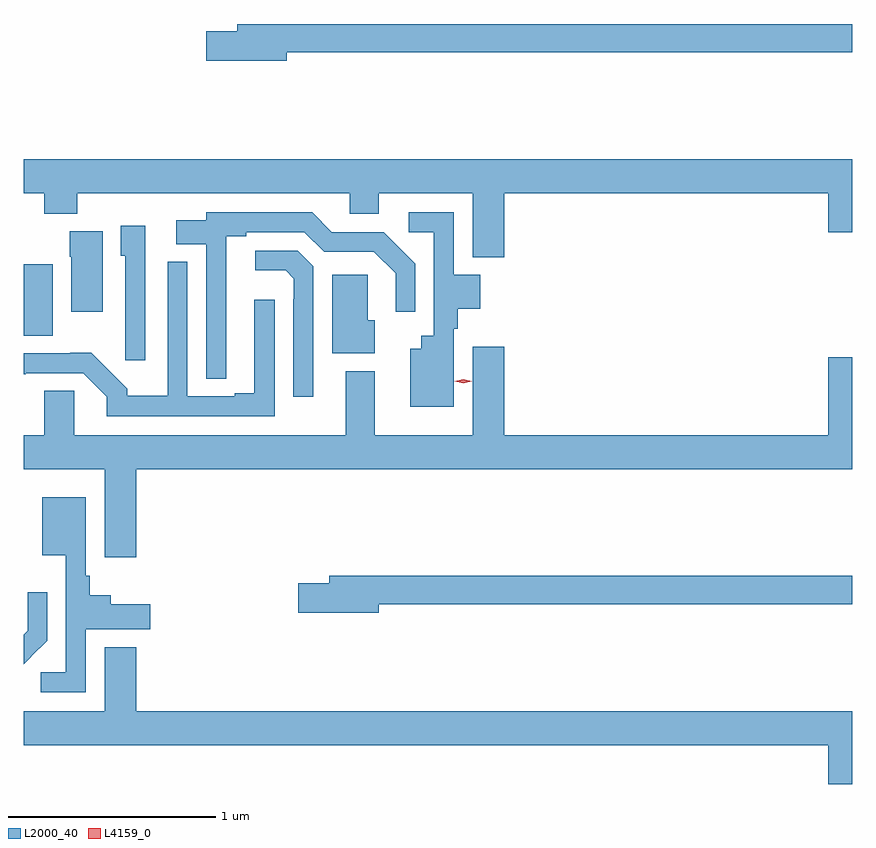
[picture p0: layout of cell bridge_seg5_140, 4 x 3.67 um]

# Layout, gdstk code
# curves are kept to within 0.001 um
import gdstk
lib = gdstk.Library(unit=1e-6, precision=1e-09)
def R(c, l, rs):  # rectangles x0, y0, x1, y1
    for r in rs: c.add(gdstk.rectangle(r[:2], r[2:], *l))
def P(c, l, *ps):  # polygons
    for p in ps: c.add(gdstk.Polygon(p, *l))
L2000_40 = (2000, 40)
L4159_0 = (4159, 0)

bridge_seg5_140 = lib.new_cell('bridge_seg5_140')
R(bridge_seg5_140, L2000_40, [(161.125,880.048,161.266,880.393)])
P(bridge_seg5_140, L2000_40, [(162.394,881.416),(165.125,881.416),(165.125,881.552),(162.155,881.552),(162.155,881.516),(162.006,881.516),(162.006,881.374),(162.394,881.374)],
  [(163.445,880.736),(165.008,880.736),(165.008,880.548),(165.125,880.548),(165.125,880.9),(161.125,880.9),(161.125,880.736),(161.224,880.736),(161.224,880.637),(161.384,880.637),(161.384,880.736),(162.698,880.736),(162.698,880.637),(162.838,880.637),(162.838,880.736),(163.292,880.736),(163.292,880.427),(163.445,880.427)],
  [(162.102,879.949),(162.103,880.528),(162.199,880.528),(162.199,880.548),(162.48,880.548),(162.576,880.452),(162.712,880.452),(162.712,880.454),(162.814,880.454),(162.92,880.349),(162.92,880.164),(163.014,880.164),(163.014,880.396),(162.864,880.548),(162.613,880.548),(162.517,880.644),(162.006,880.644),(162.006,880.606),(161.862,880.606),(161.862,880.49),(162.006,880.49),(162.006,879.841),(162.102,879.841)],
  [(163.201,880.082),(163.22,880.082),(163.22,880.178),(163.33,880.178),(163.33,880.342),(163.2,880.342),(163.2,880.644),(162.984,880.644),(162.984,880.548),(163.104,880.548),(163.104,880.048),(163.043,880.048),(163.043,879.985),(162.992,879.985),(162.992,879.704),(163.201,879.704)],
  [(161.712,880.579),(161.594,880.579),(161.594,880.434),(161.616,880.434),(161.616,879.93),(161.712,879.93)],
  [(161.506,880.552),(161.348,880.552),(161.348,880.428),(161.354,880.428),(161.354,880.164),(161.506,880.164)],
  [(162.522,880.383),(162.447,880.458),(162.243,880.458),(162.243,880.364),(162.389,880.364),(162.429,880.323),(162.429,880.223),(162.426,880.223),(162.426,879.753),(162.522,879.753)],
  [(162.336,880.222),(162.239,880.222),(162.239,879.771),(162.143,879.771),(162.143,879.756),(161.916,879.756),(161.916,880.405),(161.82,880.405),(161.82,879.757),(161.626,879.757),(161.626,879.791),(161.452,879.965),(161.351,879.965),(161.351,879.963),(161.125,879.963),(161.125,879.862),(161.135,879.862),(161.135,879.867),(161.412,879.867),(161.526,879.754),(161.526,879.66),(162.336,879.66)],
  [(162.82,880.123),(162.787,880.123),(162.787,880.341),(162.614,880.341),(162.614,879.962),(162.82,879.962)],
  [(161.669,879.404),(165.125,879.404),(165.125,879.943),(165.008,879.943),(165.008,879.568),(163.445,879.568),(163.445,879.994),(163.292,879.994),(163.292,879.568),(162.82,879.568),(162.82,879.877),(162.68,879.877),(162.68,879.568),(161.37,879.568),(161.37,879.782),(161.224,879.782),(161.224,879.568),(161.125,879.568),(161.125,879.404),(161.516,879.404),(161.516,878.979),(161.669,878.979)],
  [(161.424,878.63),(161.737,878.63),(161.737,878.752),(161.545,878.752),(161.545,878.794),(161.444,878.794),(161.444,878.89),(161.424,878.89),(161.424,879.268),(161.216,879.268),(161.216,878.987),(161.328,878.987),(161.328,878.424),(161.208,878.424),(161.208,878.328),(161.424,878.328)],
  [(162.838,878.752),(165.125,878.752),(165.125,878.888),(162.599,878.888),(162.599,878.852),(162.45,878.852),(162.45,878.71),(162.838,878.71)],
  [(161.163,878.499),(161.162,878.5),(161.238,878.576),(161.238,878.809),(161.144,878.809),(161.144,878.624),(161.125,878.605),(161.125,878.461)],
  [(165.125,878.236),(161.669,878.236),(161.669,878.545),(161.516,878.545),(161.516,878.236),(161.125,878.236),(161.125,878.072),(165.008,878.072),(165.008,877.884),(165.125,877.884)])
P(bridge_seg5_140, L4159_0, [(163.246,879.817),(163.205,879.828),(163.205,879.828),(163.205,879.828),(163.247,879.838),(163.288,879.827),(163.288,879.827),(163.288,879.827)])

lib.write_gds('bridge_seg5_140.gds')
